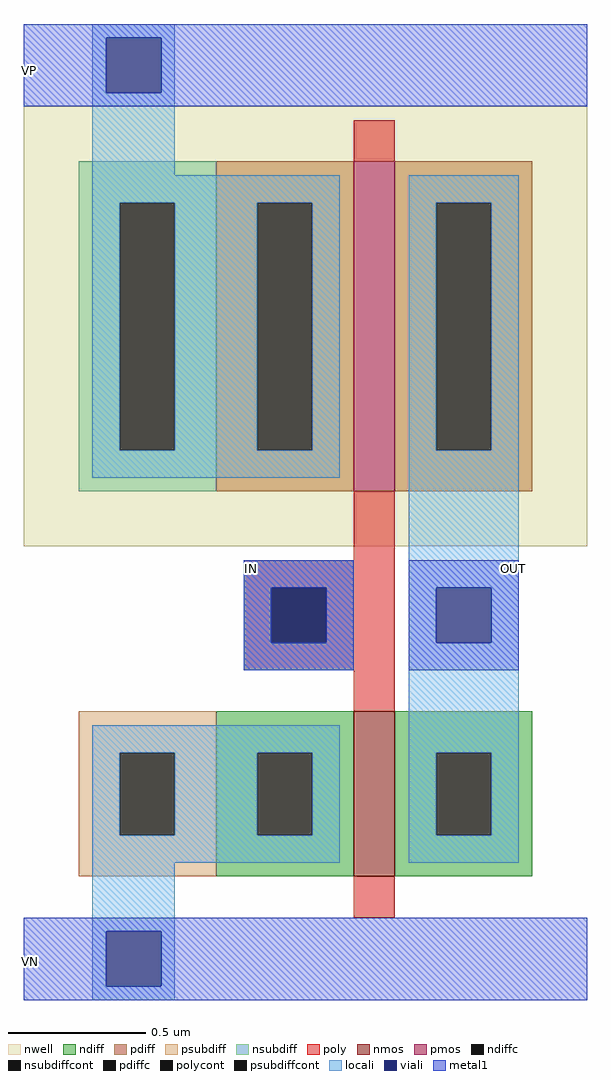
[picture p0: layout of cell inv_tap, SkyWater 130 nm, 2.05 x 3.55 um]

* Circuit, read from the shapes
.subckt inv_tap VP VN IN OUT
XM1 OUT IN VN VN sky130_fd_pr__nfet_01v8 w=0.6 l=0.15
XM2 OUT IN VP VP sky130_fd_pr__pfet_01v8 w=1.2 l=0.15
.ends

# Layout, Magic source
magic
tech sky130A
<< nwell >>
rect 270 560 475 720
<< nmos >>
rect 390 440 405 500
<< pmos >>
rect 390 580 405 700
<< ndiff >>
rect 340 485 390 500
rect 340 455 355 485
rect 375 455 390 485
rect 340 440 390 455
rect 405 485 455 500
rect 405 455 420 485
rect 440 455 455 485
rect 405 440 455 455
<< pdiff >>
rect 340 685 390 700
rect 340 595 355 685
rect 375 595 390 685
rect 340 580 390 595
rect 405 685 455 700
rect 405 595 420 685
rect 440 595 455 685
rect 405 580 455 595
<< ndiffc >>
rect 355 455 375 485
rect 420 455 440 485
<< pdiffc >>
rect 355 595 375 685
rect 420 595 440 685
<< psubdiff >>
rect 290 485 340 500
rect 290 455 305 485
rect 325 455 340 485
rect 290 440 340 455
<< nsubdiff >>
rect 290 685 340 700
rect 290 595 305 685
rect 325 595 340 685
rect 290 580 340 595
<< psubdiffcont >>
rect 305 455 325 485
<< nsubdiffcont >>
rect 305 595 325 685
<< poly >>
rect 390 700 405 715
rect 390 555 405 580
rect 350 545 405 555
rect 350 525 360 545
rect 380 525 405 545
rect 350 515 405 525
rect 390 500 405 515
rect 390 425 405 440
<< polycont >>
rect 360 525 380 545
<< locali >>
rect 295 745 325 750
rect 295 725 300 745
rect 320 725 325 745
rect 295 695 325 725
rect 295 685 385 695
rect 295 595 305 685
rect 325 595 355 685
rect 375 595 385 685
rect 295 585 385 595
rect 410 685 450 695
rect 410 595 420 685
rect 440 595 450 685
rect 350 545 390 555
rect 350 525 360 545
rect 380 525 390 545
rect 350 515 390 525
rect 410 545 450 595
rect 410 525 420 545
rect 440 525 450 545
rect 295 485 385 495
rect 295 455 305 485
rect 325 455 355 485
rect 375 455 385 485
rect 295 445 385 455
rect 410 485 450 525
rect 410 455 420 485
rect 440 455 450 485
rect 410 445 450 455
rect 295 420 325 445
rect 295 400 300 420
rect 320 400 325 420
rect 295 395 325 400
<< viali >>
rect 300 725 320 745
rect 360 525 380 545
rect 420 525 440 545
rect 300 400 320 420
<< metal1 >>
rect 270 745 475 750
rect 270 725 300 745
rect 320 725 475 745
rect 270 720 475 725
rect 350 545 390 555
rect 350 525 360 545
rect 380 525 390 545
rect 350 515 390 525
rect 410 545 450 555
rect 410 525 420 545
rect 440 525 450 545
rect 410 515 450 525
rect 270 420 475 425
rect 270 400 300 420
rect 320 400 475 420
rect 270 395 475 400
<< labels >>
rlabel metal1 272 733 272 733 3 VP
port 5 e
rlabel metal1 272 409 273 409 3 VN
port 8 e
rlabel metal1 353 552 353 552 1 IN
port 9 n
rlabel metal1 448 552 448 552 1 OUT
port 10 n
<< end >>
